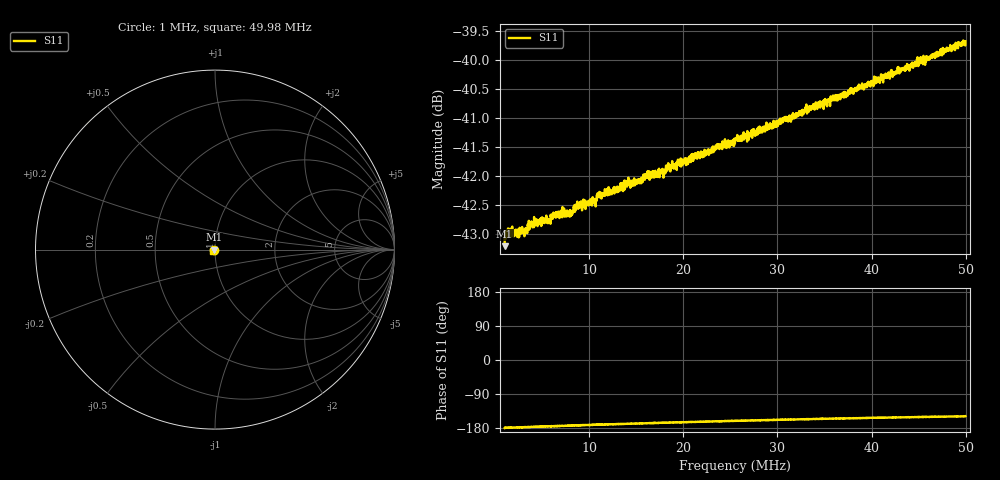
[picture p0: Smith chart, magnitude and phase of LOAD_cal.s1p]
! Created with skrf (http://scikit-rf.org).
# Hz S RI R 50.0
!freq ReS11 ImS11
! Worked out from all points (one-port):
!   2000 points, 1 MHz to 49.98 MHz, reference 50 ohm
!   lowest |S11| = -43.2 dB at 1 MHz (marker M1), VSWR 1.01, Z = 49.3 - j0.00749 ohm
!   |S11| at or under -10 dB: start of sweep to end of sweep
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1000000  -0.0069 -7.59e-05
1245000  -0.00705 -0.000115
1392000  -0.00703 -0.000155
2200500  -0.00713 -0.000237
3180500  -0.00712 -0.000315
3695000  -0.00719 -0.000385
5630500  -0.00724 -0.000617
6292000  -0.0073 -0.000689
7125000  -0.00727 -0.000795
8056000  -0.0073 -0.000865
8521500  -0.00742 -0.000929
8864500  -0.00739 -0.000966
1.05305e7  -0.00745 -0.00122
1.10205e7  -0.00758 -0.0012
1.325e7  -0.00764 -0.00147
1.40585e7  -0.0077 -0.00154
1.45975e7  -0.00766 -0.00161
1.52835e7  -0.00767 -0.00171
1.6141e7  -0.00778 -0.00181
1.72925e7  -0.00772 -0.00191
1.9375e7  -0.00782 -0.00214
2.55e7  -0.00804 -0.00283
3.1625e7  -0.00821 -0.00346
3.3634e7  -0.00829 -0.00371
3.726e7  -0.00835 -0.00409
3.775e7  -0.00847 -0.00412
4.3875e7  -0.00858 -0.00484
4.99755e7  -0.00885 -0.00544
